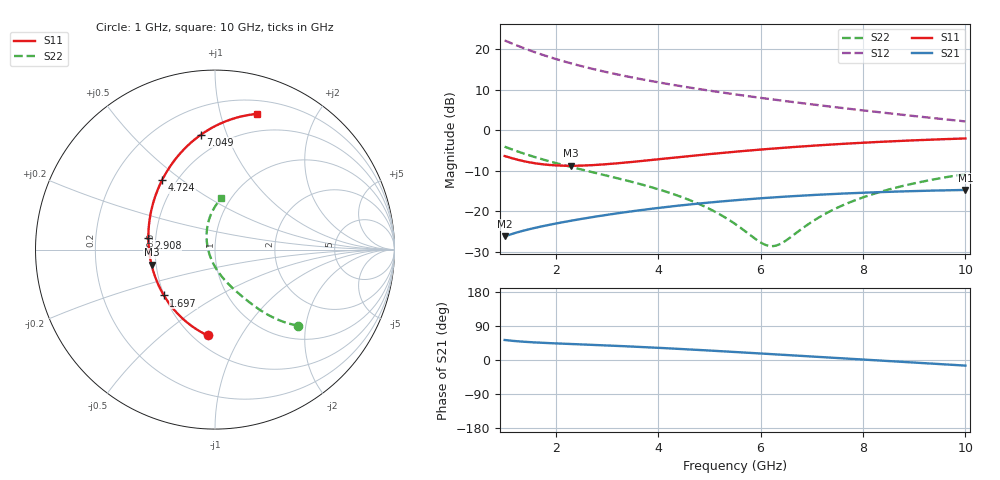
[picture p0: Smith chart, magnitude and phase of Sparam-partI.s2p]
# Hz S RI R 50
! Freq.	S11(V2)	S12(V2)	S21(V2)	S22(V2)
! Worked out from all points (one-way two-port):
!   1002 points, 1 GHz to 10 GHz, reference 50 ohm
!   highest |S21| = -14.75 dB at 10 GHz (marker M1); lowest = -26.2 dB at 1 GHz (marker M2)
!   lowest |S11| = -8.8 dB at 2.289 GHz (marker M3), VSWR 2.14, Z = 23.6 - j4.57 ohm
!   |S11| at or under -10 dB: nowhere
!   |S22| runs from -28.6 to -4.1 dB; largest |S21 - S12| = 13
!   S11 on the Smith chart (normalised r, x): 1 GHz: 0.59, -0.73; 1.697 GHz: 0.50, -0.30; 2.908 GHz: 0.46, +0.07; 4.724 GHz: 0.42, +0.42; 7.049 GHz: 0.37, +0.81; 10 GHz: 0.32, +1.30
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1e9  -0.041 -0.4783  0.0295 0.0389  -5.509 11.55  0.4611 -0.423
1.161275e9  -0.1237 -0.4301  0.0336 0.0408  -3.839 10.95  0.4018 -0.4091
1.238532e9  -0.1564 -0.4052  0.0354 0.0416  -3.172 10.63  0.3776 -0.4011
1.320928e9  -0.1871 -0.3781  0.0373 0.0425  -2.541 10.28  0.3544 -0.3921
1.499078e9  -0.2409 -0.3191  0.0411 0.0442  -1.415 9.507  0.3116 -0.3722
1.697345e9  -0.2848 -0.2552  0.0451 0.0461  -0.4628 8.68  0.2734 -0.3506
1.831206e9  -0.3073 -0.2137  0.0477 0.0473  0.0448 8.154  0.2516 -0.3368
1.971085e9  -0.3258 -0.1721  0.0503 0.0485  0.4845 7.637  0.2316 -0.3231
2.288971e9  -0.3537 -0.0841  0.0564 0.0512  1.227 6.582  0.1935 -0.295
2.50381e9  -0.3643 -0.0294  0.0606 0.0529  1.583 5.958  0.1719 -0.2779
2.907612e9  -0.3714 0.0646  0.0688 0.0555  2.04 4.947  0.1366 -0.2486
3.423462e9  -0.3638 0.1708  0.0799 0.0578  2.367 3.898  0.0982 -0.2143
4.003111e9  -0.3399 0.2754  0.093 0.0584  2.53 2.958  0.0604 -0.1765
4.724172e9  -0.2945 0.3878  0.1097 0.056  2.554 2.043  0.0201 -0.1269
5.51136e9  -0.2304 0.4912  0.1276 0.0491  2.45 1.274  -0.0146 -0.0675
6.000974e9  -0.1849 0.5461  0.138 0.0427  2.341 0.8898  -0.0304 -0.0278
6.225952e9  -0.1629 0.569  0.1425 0.0392  2.284 0.7337  -0.0359 -0.00896
7.000916e9  -0.0832 0.6366  0.1562 0.025  2.062 0.2819  -0.0465 0.0575
7.049395e9  -0.078 0.6403  0.1569 0.024  2.048 0.2576  -0.0467 0.0617
7.764436e9  -0.0012 0.6872  0.1666 0.00841  1.824 -0.0522  -0.0434 0.123
8.512751e9  0.0795 0.7223  0.1734 -0.00953  1.586 -0.292  -0.0276 0.1839
1e10  0.2318 0.7556  0.177 -0.0466  1.147 -0.5745  0.0351 0.2847
